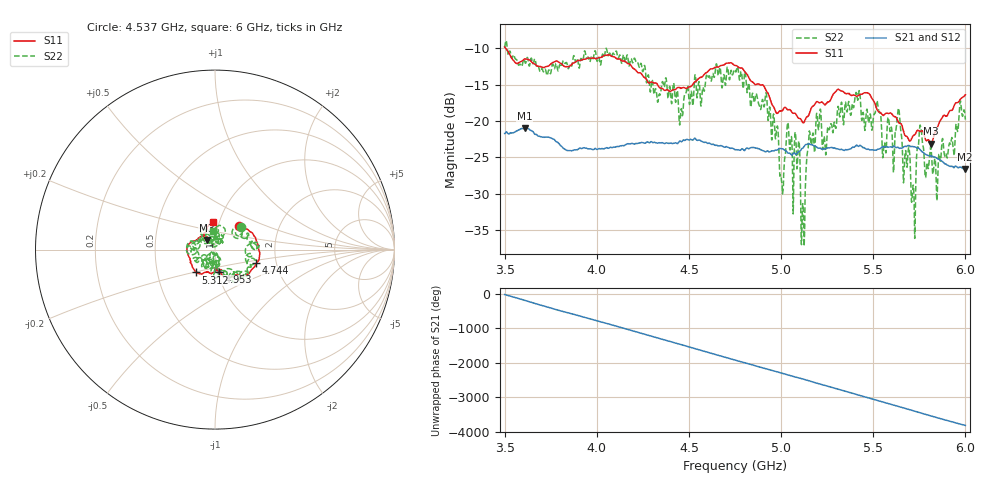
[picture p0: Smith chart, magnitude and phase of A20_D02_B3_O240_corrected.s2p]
! Created with skrf 1.9.0 (http://scikit-rf.org).
# Hz S RI R 50.0
!freq ReS11 ImS11 ReS21 ImS21 ReS12 ImS12 ReS22 ImS22
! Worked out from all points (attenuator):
!   1601 points, 3.5 GHz to 6 GHz, reference 50 ohm
!   highest |S21| = -20.97 dB at 3.609 GHz (marker M1); lowest = -26.6 dB at 5.998 GHz (marker M2)
!   lowest |S11| = -23.1 dB at 5.814 GHz (marker M3), VSWR 1.15, Z = 45.4 + j4.88 ohm
!   |S11| at or under -10 dB: 3.506 GHz to end of sweep
!   |S22| runs from -37.2 to -8.9 dB; largest |S21 - S12| = 0.001
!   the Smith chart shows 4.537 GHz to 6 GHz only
!   S11 on the Smith chart (normalised r, x): 4.537 GHz: 1.26, +0.34; 4.744 GHz: 1.58, -0.25; 4.953 GHz: 1.01, -0.26; 5.312 GHz: 0.79, -0.21; 6 GHz: 0.94, +0.29
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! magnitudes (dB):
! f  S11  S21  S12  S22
! 3.5 GHz  -9.8  -21.7  -21.7  -9.9
! 3.609 GHz  -11.5  -21.0  -21.0  -11.8
! 3.917 GHz  -11.6  -23.8  -23.8  -11.4
! 4.334 GHz  -15.2  -23.0  -22.9  -16.9
! 4.537 GHz  -14.5  -22.5  -22.4  -14.3
! 4.744 GHz  -12.3  -23.8  -23.8  -13.1
! 4.75 GHz  -12.4  -23.9  -23.9  -13.0
! 4.953 GHz  -17.8  -24.1  -24.1  -21.0
! 5.003 GHz  -18.6  -23.8  -23.8  -28.4
! 5.033 GHz  -18.4  -24.3  -24.2  -20.7
! 5.088 GHz  -19.4  -24.4  -24.4  -26.5
! 5.119 GHz  -20.2  -23.7  -23.6  -31.5
! 5.145 GHz  -19.4  -23.2  -23.1  -23.9
! 5.167 GHz  -18.1  -23.3  -23.2  -22.9
! 5.312 GHz  -15.7  -23.9  -23.9  -18.3
! 5.584 GHz  -19.0  -23.6  -23.6  -19.7
! 5.641 GHz  -20.3  -23.7  -23.7  -18.6
! 5.717 GHz  -22.0  -23.5  -23.5  -28.8
! 5.752 GHz  -21.4  -23.9  -23.8  -21.0
! 5.814 GHz  -23.1  -24.8  -24.8  -23.9
! 5.998 GHz  -16.5  -26.6  -26.5  -19.4
! 6 GHz  -16.4  -26.6  -26.5  -19.8
